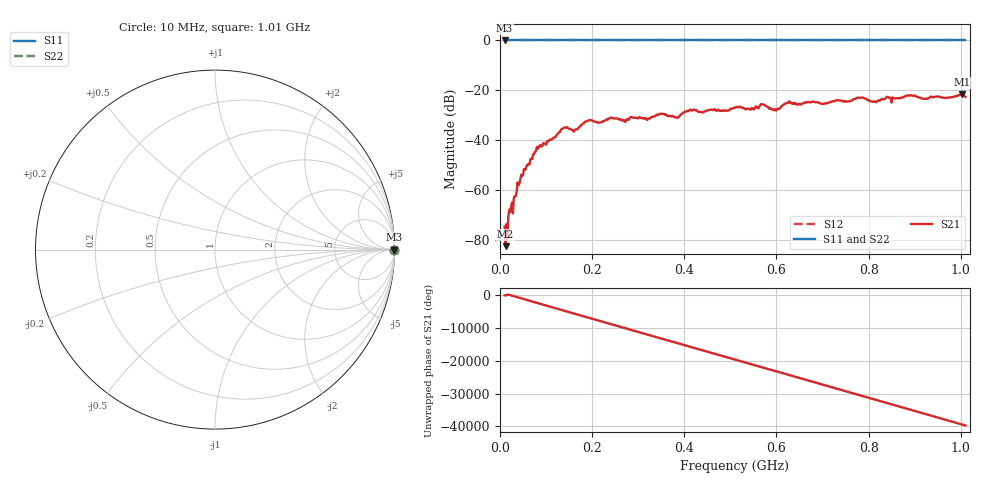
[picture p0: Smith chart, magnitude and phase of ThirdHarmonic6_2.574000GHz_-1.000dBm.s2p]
! 8/17/2025 5:24:34 AM
! C:\ANRITSUVNA\TEMP\TEMP.S2P
! CHANNEL.1
! TR.MEASUREMENT
! RAW.DATA
! RF.CORRECTION.OFF
! AVERAGING.OFF
! IF.BANDWIDTH: 5KHZ
! SWEEPTYPE:  FREQ.SWEEP(Linear)
! Reference Plane Port Info
! PORT:  PORT1  PORT2
! DISTANCE:  0  m  0  m
! TIME:  0  s  0  s
! PHASE.OFFSET:  0  deg.  0  deg.
! LOSS:  0  dB  0  dB
! REF.LOSS:  0  dB  0  dB
! REF.FREQ:  0  Hz  0  Hz
! Power Info
! POWER:  -20  dBm  -20  dBm
! EFF.POWER:  -20  dBm  -20  dBm
! SOURCE.ATTEN:  0  dB  0  dB
! TEST.ATTEN:  0  dB  0  dB
# GHZ S RI R 50.0
! FREQ.GHZ  S11RE  S11IM  S21RE  S21IM  S12RE  S12IM  S22RE  S22IM
!; PortSelection: Port_12
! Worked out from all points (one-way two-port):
!   501 points, 10 MHz to 1.01 GHz, reference 50 ohm
!   highest |S21| = -21.68 dB at 1.002 GHz (marker M1); lowest = -82.6 dB at 12 MHz (marker M2)
!   lowest |S11| = 0.0 dB at 10 MHz (marker M3)
!   |S11| at or under -10 dB: nowhere
!   |S22| runs from 0.0 to 0.0 dB; largest |S21 - S12| = 1.1
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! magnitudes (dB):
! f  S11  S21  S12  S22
! 10 MHz  0.0  -74.7  0.0  0.0
! 12 MHz  0.0  -82.6  0.0  0.0
! 22 MHz  0.0  -68.9  0.0  0.0
! 32 MHz  0.0  -62.5  0.0  0.0
! 42 MHz  0.0  -57.4  0.0  0.0
! 76 MHz  0.0  -44.8  0.0  0.0
! 136 MHz  0.0  -35.4  0.0  0.0
! 162 MHz  0.0  -36.0  0.0  0.0
! 178 MHz  0.0  -33.7  0.0  0.0
! 344 MHz  0.0  -29.8  0.0  0.0
! 384 MHz  0.0  -30.9  0.0  0.0
! 416 MHz  0.0  -28.2  0.0  0.0
! 510 MHz  0.0  -26.9  0.0  0.0
! 570 MHz  0.0  -25.7  0.0  0.0
! 596 MHz  0.0  -27.5  0.0  0.0
! 624 MHz  0.0  -25.0  0.0  0.0
! 678 MHz  0.0  -24.7  0.0  0.0
! 782 MHz  0.0  -23.0  0.0  0.0
! 814 MHz  0.0  -24.5  0.0  0.0
! 844 MHz  0.0  -23.0  0.0  0.0
! 1.002 GHz  0.0  -21.7  0.0  0.0
! 1.01 GHz  0.0  -22.6  0.0  0.0
